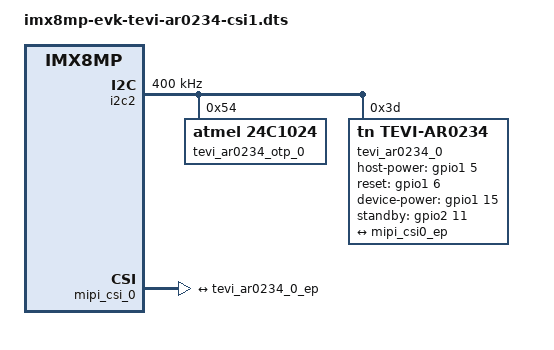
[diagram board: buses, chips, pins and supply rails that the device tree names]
// SPDX-License-Identifier: (GPL-2.0+ OR MIT)
/*
 * Copyright 2021 Technexion Ltd.
 *
 * This program is free software; you can redistribute it and/or
 * modify it under the terms of the GNU General Public License
 * as published by the Free Software Foundation; either version 2
 * of the License, or (at your option) any later version.
 *
 * This program is distributed in the hope that it will be useful,
 * but WITHOUT ANY WARRANTY; without even the implied warranty of
 * MERCHANTABILITY or FITNESS FOR A PARTICULAR PURPOSE.  See the
 * GNU General Public License for more details.
 */

#include "imx8mp-evk.dts"

&i2c2 {
	clock-frequency = <400000>;
	/delete-node/ov5640_mipi@3c;

	adv7535@3d {
		status = "disabled";
	};

	tevi_ar0234_otp_0: tevi_ar0234_otp@54 {
		compatible = "atmel,24c1024";
		reg = <0x54>;
		pagesize = <128>;
		//read-only;
	};

	tevi_ar0234_0: tevi_ar0234@3d {
		compatible = "tn,tevi-ar0234";
		reg = <0x3d>;
		pinctrl-names = "default";
		pinctrl-0 = <&pinctrl_csi0_pwn>, <&pinctrl_csi0_rst>, <&pinctrl_csi_mclk>;
		host-power-gpios = <&gpio1 5 GPIO_ACTIVE_HIGH>;
		reset-gpios = <&gpio1 6 GPIO_ACTIVE_HIGH>;
		device-power-gpios = <&gpio1 15 GPIO_ACTIVE_HIGH>;
		standby-gpios = <&gpio2 11 GPIO_ACTIVE_HIGH>;
		nvmem = <&tevi_ar0234_otp_0>;
		nvmem-names = "calib-data";
		status = "okay";

		port {
			tevi_ar0234_0_ep: endpoint {
				remote-endpoint = <&mipi_csi0_ep>;
			};
		};
	};
};

&mipi_dsi {
	status = "disabled";
};

&mipi_csi_0 {
	#address-cells = <1>;
	#size-cells = <0>;

	port@0 {
		reg = <0>;
		mipi_csi0_ep: endpoint {
			remote-endpoint = <&tevi_ar0234_0_ep>;
			data-lanes = <4>;
			csis-hs-settle = <13>;
			csis-clk-settle = <2>;
			csis-wclk;
		};
	};
};

&iomuxc {
	pinctrl_csi0_pwn: csi0_pwn_grp {
		fsl,pins = <
			MX8MP_IOMUXC_SD1_STROBE__GPIO2_IO11	0x9 /* CSI1_PWDN for host-power-gpios */
			MX8MP_IOMUXC_GPIO1_IO05__GPIO1_IO05	0x9 /* INFO_TRIG_IN1 for standby-gpios */
		>;
	};

	pinctrl_csi_mclk: csi_mclk_grp {
	fsl,pins = <
		MX8MP_IOMUXC_GPIO1_IO15__GPIO1_IO15	0x9
		>;
	};
};
